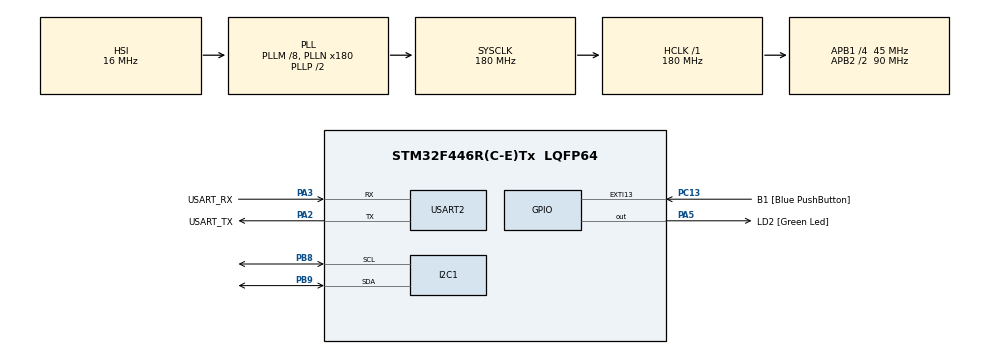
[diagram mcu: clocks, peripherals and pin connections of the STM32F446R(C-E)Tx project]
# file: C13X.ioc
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Mcu.Family=STM32F4
Mcu.Name=STM32F446R(C-E)Tx
Mcu.Package=LQFP64
NVIC.PriorityGroup=NVIC_PRIORITYGROUP_0
NVIC.RTC_Alarm_IRQn=true\:0\:0\:false\:false\:true\:true\:true\:true
NVIC.USART2_IRQn=true\:0\:0\:false\:false\:true\:true\:true\:true
PA13.GPIO_Label=TMS
PA13.Signal=SYS_JTMS-SWDIO
PA14.GPIO_Label=TCK
PA14.Signal=SYS_JTCK-SWCLK
PA2.GPIO_Label=USART_TX
PA2.Mode=Asynchronous
PA2.Signal=USART2_TX
PA3.GPIO_Label=USART_RX
PA3.Mode=Asynchronous
PA3.Signal=USART2_RX
PA5.GPIO_Label=LD2 [Green Led]
PA5.Signal=GPIO_Output
PB3.GPIO_Label=SWO
PB3.Signal=SYS_JTDO-SWO
PB8.Mode=I2C
PB8.Signal=I2C1_SCL
PB9.Mode=I2C
PB9.Signal=I2C1_SDA
PC13.GPIO_Label=B1 [Blue PushButton]
PC13.GPIO_ModeDefaultEXTI=GPIO_MODE_IT_FALLING
PC13.Signal=GPXTI13
PC14-OSC32_IN.Mode=LSE-External-Oscillator
PC14-OSC32_IN.Signal=RCC_OSC32_IN
PC15-OSC32_OUT.Mode=LSE-External-Oscillator
PC15-OSC32_OUT.Signal=RCC_OSC32_OUT
PH0-OSC_IN.Mode=HSE-External-Clock-Source
PH0-OSC_IN.Signal=RCC_OSC_IN
PH1-OSC_OUT.Mode=HSE-External-Clock-Source
PH1-OSC_OUT.Signal=RCC_OSC_OUT
ProjectManager.HeapSize=0x200
ProjectManager.StackSize=0x400
ProjectManager.TargetToolchain=STM32CubeIDE
RCC.AHBFreq_Value=180000000
RCC.APB1CLKDivider=RCC_HCLK_DIV4
RCC.APB1Freq_Value=45000000
RCC.APB1TimFreq_Value=90000000
RCC.APB2CLKDivider=RCC_HCLK_DIV2
RCC.APB2Freq_Value=90000000
RCC.APB2TimFreq_Value=180000000
RCC.CortexFreq_Value=180000000
RCC.FLatency-AdvancedSettings=FLASH_LATENCY_5
RCC.HCLKFreq_Value=180000000
RCC.HSE_VALUE=8000000
RCC.HSI_VALUE=16000000
RCC.PLLM=8
RCC.PLLN=180
RCC.RCC_RTC_Clock_SourceVirtual=RCC_RTCCLKSOURCE_LSE
RCC.SYSCLKFreq_VALUE=180000000
RCC.SYSCLKSource=RCC_SYSCLKSOURCE_PLLCLK
RCC.USBFreq_Value=180000000
RCC.VCOOutputFreq_Value=360000000
RTC.Alarm=RTC_ALARM_A
RTC.AlarmDateWeekDay=RTC_WEEKDAY_MONDAY
RTC.AlarmDateWeekDaySel=RTC_ALARMDATEWEEKDAYSEL_WEEKDAY
RTC.AsynchPrediv=126-1
RTC.Date=5
RTC.Hours=21
RTC.Hours_A=21
RTC.Minutes=31
RTC.Minutes_A=32
RTC.Seconds=40
RTC.StoreOperation=RTC_STOREOPERATION_SET
RTC.SynchPrediv=260-1
RTC.Year=26
USART2.VirtualMode=VM_ASYNC
VP_RTC_VS_RTC_Activate.Mode=RTC_Enabled
VP_RTC_VS_RTC_Alarm_A_Intern.Mode=Alarm A
VP_RTC_VS_RTC_Calendar.Mode=RTC_Calendar
board=NUCLEO-F446RE

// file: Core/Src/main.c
/* USER CODE BEGIN Header */
/**
  ******************************************************************************
  * @file           : main.c
  * @brief          : Main program body
  ******************************************************************************
  * @attention
  *
  * Copyright (c) 2026 STMicroelectronics.
  * All rights reserved.
  *
  * This software is licensed under terms that can be found in the LICENSE file
  * in the root directory of this software component.
  * If no LICENSE file comes with this software, it is provided AS-IS.
  *
  ******************************************************************************
  */
/* USER CODE END Header */
#include "main.h"

/* USER CODE BEGIN Includes */
#include "i2c_lcd.h"
//https://github.com/alixahedi/I2C-LCD-STM32

#include <stdio.h>
#include <string.h>

/* USER CODE END Includes */

I2C_HandleTypeDef hi2c1;

RTC_HandleTypeDef hrtc;

UART_HandleTypeDef huart2;

/* USER CODE BEGIN PV */
I2C_LCD_HandleTypeDef Mylcd;

char chTemp[100];

/* USER CODE END PV */

void SystemClock_Config(void);
static void MX_GPIO_Init(void);
static void MX_I2C1_Init(void);
static void MX_RTC_Init(void);
static void MX_USART2_UART_Init(void);
/* USER CODE BEGIN PFP */

void SetTime(void);
void SetAlarm(void);

/* USER CODE END PFP */

int main(void)
{

  /* MCU Configuration--------------------------------------------------------*/

  /* Reset of all peripherals, Initializes the Flash interface and the Systick. */
  HAL_Init();

  /* Configure the system clock */
  SystemClock_Config();

  /* Initialize all configured peripherals */
  MX_GPIO_Init();
  MX_I2C1_Init();
  MX_RTC_Init();
  MX_USART2_UART_Init();
  /* USER CODE BEGIN 2 */
  //LCD
  Mylcd.address = 0x4E;
  Mylcd.hi2c = &hi2c1;
  lcd_init(&Mylcd);
  HAL_Delay(50);
  lcd_clear(&Mylcd);
  //lcd_gotoxy(&Mylcd, 0, 0);
  //lcd_puts(&Mylcd, "LCD Demo:");
  //lcd_gotoxy(&Mylcd, 0, 1);
  //lcd_puts(&Mylcd, "LCD on STM32");

  RTC_TimeTypeDef sTime = {0};
  RTC_DateTypeDef sDate = {0};

  SetTime();
  SetAlarm();

  /* USER CODE END 2 */

  /* Infinite loop */
  /* USER CODE BEGIN WHILE */
  while (1)
  {
	  HAL_RTC_GetDate(&hrtc, &sDate, RTC_FORMAT_BIN);
	  sprintf(chTemp,"%02d.%02d.%04d\t",sDate.Date,sDate.Month,sDate.Year+2000);
	  sprintf(chTemp,"%02d.%02d.%04d",sDate.Date,sDate.Month,sDate.Year+2000);
	  //HAL_UART_Transmit(&huart2, (uint8_t*)chTemp, strlen(chTemp), HAL_MAX_DELAY);
	  lcd_gotoxy(&Mylcd, 3, 0);
	  lcd_puts(&Mylcd, chTemp);
	  HAL_RTC_GetTime(&hrtc, &sTime, RTC_FORMAT_BIN);
	  //sprintf(chTemp,"%02d:%02d:%02d\r\n",sTime.Hours,sTime.Minutes,sTime.Seconds);
	  sprintf(chTemp,"%02d:%02d:%02d",sTime.Hours,sTime.Minutes,sTime.Seconds);
	  //HAL_UART_Transmit(&huart2, (uint8_t*)chTemp, strlen(chTemp), HAL_MAX_DELAY);
	  lcd_gotoxy(&Mylcd, 4, 1);
	  lcd_puts(&Mylcd, chTemp);
	  HAL_Delay(300);

    /* USER CODE END WHILE */

  }
}

void SystemClock_Config(void)
{
  RCC_OscInitTypeDef RCC_OscInitStruct = {0};
  RCC_ClkInitTypeDef RCC_ClkInitStruct = {0};

  /** Configure the main internal regulator output voltage
  */
  __HAL_RCC_PWR_CLK_ENABLE();
  __HAL_PWR_VOLTAGESCALING_CONFIG(PWR_REGULATOR_VOLTAGE_SCALE1);

  /** Initializes the RCC Oscillators according to the specified parameters
  * in the RCC_OscInitTypeDef structure.
  */
  RCC_OscInitStruct.OscillatorType = RCC_OSCILLATORTYPE_HSI|RCC_OSCILLATORTYPE_LSE;
  RCC_OscInitStruct.LSEState = RCC_LSE_ON;
  RCC_OscInitStruct.HSIState = RCC_HSI_ON;
  RCC_OscInitStruct.HSICalibrationValue = RCC_HSICALIBRATION_DEFAULT;
  RCC_OscInitStruct.PLL.PLLState = RCC_PLL_ON;
  RCC_OscInitStruct.PLL.PLLSource = RCC_PLLSOURCE_HSI;
  RCC_OscInitStruct.PLL.PLLM = 8;
  RCC_OscInitStruct.PLL.PLLN = 180;
  RCC_OscInitStruct.PLL.PLLP = RCC_PLLP_DIV2;
  RCC_OscInitStruct.PLL.PLLQ = 2;
  RCC_OscInitStruct.PLL.PLLR = 2;
  if (HAL_RCC_OscConfig(&RCC_OscInitStruct) != HAL_OK)
  {
    Error_Handler();
  }

  /** Activate the Over-Drive mode
  */
  if (HAL_PWREx_EnableOverDrive() != HAL_OK)
  {
    Error_Handler();
  }

  /** Initializes the CPU, AHB and APB buses clocks
  */
  RCC_ClkInitStruct.ClockType = RCC_CLOCKTYPE_HCLK|RCC_CLOCKTYPE_SYSCLK
                              |RCC_CLOCKTYPE_PCLK1|RCC_CLOCKTYPE_PCLK2;
  RCC_ClkInitStruct.SYSCLKSource = RCC_SYSCLKSOURCE_PLLCLK;
  RCC_ClkInitStruct.AHBCLKDivider = RCC_SYSCLK_DIV1;
  RCC_ClkInitStruct.APB1CLKDivider = RCC_HCLK_DIV4;
  RCC_ClkInitStruct.APB2CLKDivider = RCC_HCLK_DIV2;

  if (HAL_RCC_ClockConfig(&RCC_ClkInitStruct, FLASH_LATENCY_5) != HAL_OK)
  {
    Error_Handler();
  }
}

static void MX_I2C1_Init(void)
{

  hi2c1.Instance = I2C1;
  hi2c1.Init.ClockSpeed = 100000;
  hi2c1.Init.DutyCycle = I2C_DUTYCYCLE_2;
  hi2c1.Init.OwnAddress1 = 0;
  hi2c1.Init.AddressingMode = I2C_ADDRESSINGMODE_7BIT;
  hi2c1.Init.DualAddressMode = I2C_DUALADDRESS_DISABLE;
  hi2c1.Init.OwnAddress2 = 0;
  hi2c1.Init.GeneralCallMode = I2C_GENERALCALL_DISABLE;
  hi2c1.Init.NoStretchMode = I2C_NOSTRETCH_DISABLE;
  if (HAL_I2C_Init(&hi2c1) != HAL_OK)
  {
    Error_Handler();
  }

}

static void MX_RTC_Init(void)
{

	/** Initialize RTC Only
	*/
	hrtc.Instance = RTC;
	hrtc.Init.HourFormat = RTC_HOURFORMAT_24;
	hrtc.Init.AsynchPrediv = 126-1;
	hrtc.Init.SynchPrediv = 260-1;
	hrtc.Init.OutPut = RTC_OUTPUT_DISABLE;
	hrtc.Init.OutPutPolarity = RTC_OUTPUT_POLARITY_HIGH;
	hrtc.Init.OutPutType = RTC_OUTPUT_TYPE_OPENDRAIN;
	if (HAL_RTC_Init(&hrtc) != HAL_OK)
	{
		Error_Handler();
	}

}

static void MX_USART2_UART_Init(void)
{

  huart2.Instance = USART2;
  huart2.Init.BaudRate = 115200;
  huart2.Init.WordLength = UART_WORDLENGTH_8B;
  huart2.Init.StopBits = UART_STOPBITS_1;
  huart2.Init.Parity = UART_PARITY_NONE;
  huart2.Init.Mode = UART_MODE_TX_RX;
  huart2.Init.HwFlowCtl = UART_HWCONTROL_NONE;
  huart2.Init.OverSampling = UART_OVERSAMPLING_16;
  if (HAL_UART_Init(&huart2) != HAL_OK)
  {
    Error_Handler();
  }

}

static void MX_GPIO_Init(void)
{
  GPIO_InitTypeDef GPIO_InitStruct = {0};

  /* GPIO Ports Clock Enable */
  __HAL_RCC_GPIOC_CLK_ENABLE();
  __HAL_RCC_GPIOH_CLK_ENABLE();
  __HAL_RCC_GPIOA_CLK_ENABLE();
  __HAL_RCC_GPIOB_CLK_ENABLE();

  /*Configure GPIO pin Output Level */
  HAL_GPIO_WritePin(LD2_GPIO_Port, LD2_Pin, GPIO_PIN_RESET);

  /*Configure GPIO pin : B1_Pin */
  GPIO_InitStruct.Pin = B1_Pin;
  GPIO_InitStruct.Mode = GPIO_MODE_IT_FALLING;
  GPIO_InitStruct.Pull = GPIO_NOPULL;
  HAL_GPIO_Init(B1_GPIO_Port, &GPIO_InitStruct);

  /*Configure GPIO pin : LD2_Pin */
  GPIO_InitStruct.Pin = LD2_Pin;
  GPIO_InitStruct.Mode = GPIO_MODE_OUTPUT_PP;
  GPIO_InitStruct.Pull = GPIO_NOPULL;
  GPIO_InitStruct.Speed = GPIO_SPEED_FREQ_LOW;
  HAL_GPIO_Init(LD2_GPIO_Port, &GPIO_InitStruct);

}

/* USER CODE BEGIN 4 */
void HAL_RTC_AlarmAEventCallback(RTC_HandleTypeDef *hrtc)
{
  /* Prevent unused argument(s) compilation warning */
  UNUSED(hrtc);

  /* NOTE: This function should not be modified, when the callback is needed,
           the HAL_RTC_AlarmAEventCallback could be implemented in the user file
   */

  return;
}

void SetTime(void)
{
	//uint32_t uiTemp = HAL_RTCEx_BKUPRead(&hrtc, RTC_BKP_DR0);
	uint32_t uiTemp = hrtc.Instance->BKP0R;
	if( uiTemp == 0x1237) return;
	else
	{
		//HAL_RTCEx_BKUPWrite(&hrtc, RTC_BKP_DR0, 0x1234);
		hrtc.Instance->BKP0R = 0x1237;
	}

	RTC_TimeTypeDef sTime = {0};
	RTC_DateTypeDef sDate = {0};

	/* USER CODE BEGIN RTC_Init 1 */

	/* USER CODE END RTC_Init 1 */

	/* USER CODE BEGIN Check_RTC_BKUP */

	/* USER CODE END Check_RTC_BKUP */

	/** Initialize RTC and set the Time and Date
	*/
	sTime.Hours = 0x07;
	sTime.Minutes = 0x01;
	sTime.Seconds = 0x00;
	sTime.DayLightSaving = RTC_DAYLIGHTSAVING_NONE;
	sTime.StoreOperation = RTC_STOREOPERATION_RESET;
	if (HAL_RTC_SetTime(&hrtc, &sTime, RTC_FORMAT_BCD) != HAL_OK)
	{
	Error_Handler();
	}
	sDate.WeekDay = RTC_WEEKDAY_THURSDAY;
	sDate.Month = RTC_MONTH_JANUARY;
	sDate.Date = 0x8;
	sDate.Year = 0x26;

	if (HAL_RTC_SetDate(&hrtc, &sDate, RTC_FORMAT_BCD) != HAL_OK)
	{
	Error_Handler();
	}

	return;
}
void SetAlarm(void)
{
	RTC_AlarmTypeDef sAlarm = {0};

	/** Enable the Alarm A
	  */
	sAlarm.AlarmTime.Hours = 0x07;
	sAlarm.AlarmTime.Minutes = 0x02;
	sAlarm.AlarmTime.Seconds = 0x0;
	sAlarm.AlarmTime.SubSeconds = 0x0;
	sAlarm.AlarmTime.DayLightSaving = RTC_DAYLIGHTSAVING_NONE;
	sAlarm.AlarmTime.StoreOperation = RTC_STOREOPERATION_RESET;
	sAlarm.AlarmMask = RTC_ALARMMASK_NONE;
	sAlarm.AlarmSubSecondMask = RTC_ALARMSUBSECONDMASK_ALL;
	sAlarm.AlarmDateWeekDaySel = RTC_ALARMDATEWEEKDAYSEL_WEEKDAY;
	sAlarm.AlarmDateWeekDay = RTC_WEEKDAY_THURSDAY;
	sAlarm.Alarm = RTC_ALARM_A;
	if (HAL_RTC_SetAlarm_IT(&hrtc, &sAlarm, RTC_FORMAT_BCD) != HAL_OK)
	{
	Error_Handler();
	}
	return;
}

/* USER CODE END 4 */

void Error_Handler(void)
{
  __disable_irq();
  while (1)
  {
  }
}
